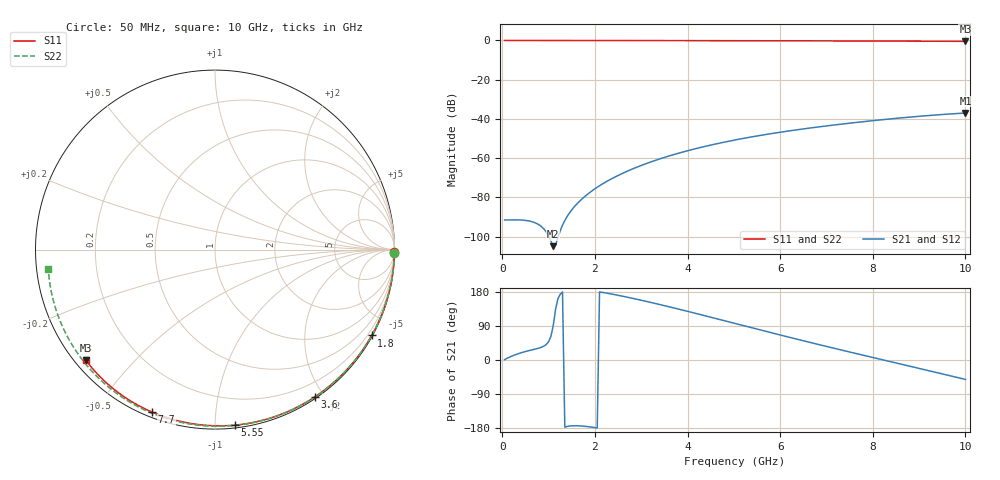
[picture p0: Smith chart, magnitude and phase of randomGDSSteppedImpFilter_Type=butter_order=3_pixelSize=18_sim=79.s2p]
! freq	dB(S11)	phase(S11)	dB(S12)	phase(S12)
!  dB(S21)	phase(S21)	dB(S22)	phase(S22)
!S-par simulation data
#  GHz  S  DB  R 50
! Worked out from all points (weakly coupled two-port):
!   200 points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, 50 MHz to 10 GHz, reference 50 ohm
!   highest |S21| = -36.98 dB at 10 GHz (marker M1); lowest = -104.8 dB at 1.1 GHz (marker M2)
!   lowest |S11| = -0.5 dB at 10 GHz (marker M3), VSWR 36.83, Z = 1.54 - j18.5 ohm
!   |S11| at or under -10 dB: nowhere
!   |S22| runs from -0.6 to 0.0 dB; largest |S21 - S12| = 0
!   S11 on the Smith chart (normalised r, x): 50 MHz: open; 1.8 GHz: 0.03, -3.91; 3.6 GHz: 0.02, -1.88; 5.55 GHz: 0.02, -1.12; 7.7 GHz: 0.02, -0.68; 10 GHz: 0.03, -0.37
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0.05  -0.00 -0.8  -91.47 0.7  -91.47 0.7  -0.00 -1.0
0.55  -0.01 -8.9  -91.84 24.0  -91.84 24.0  -0.01 -10.7
1.1  -0.02 -17.7  -104.82 90.8  -104.82 90.8  -0.03 -21.3
1.75  -0.04 -27.9  -80.14 -174.6  -80.14 -174.6  -0.04 -33.6
1.8  -0.04 -28.7  -79.13 -175.2  -79.13 -175.2  -0.04 -34.5
1.95  -0.04 -31.0  -76.40 -177.5  -76.40 -177.5  -0.05 -37.3
2.1  -0.04 -33.3  -74.02 179.7  -74.02 179.7  -0.05 -40.1
2.45  -0.05 -38.7  -69.38 172.0  -69.38 172.0  -0.06 -46.6
2.9  -0.06 -45.6  -64.61 160.4  -64.61 160.4  -0.07 -54.8
3.4  -0.07 -53.0  -60.35 146.4  -60.35 146.4  -0.08 -63.7
3.6  -0.08 -56.0  -58.87 140.5  -58.87 140.5  -0.09 -67.3
4.3  -0.09 -66.1  -54.41 119.2  -54.41 119.2  -0.11 -79.4
5.05  -0.12 -76.6  -50.59 95.7  -50.59 95.7  -0.14 -92.0
5.55  -0.14 -83.4  -48.46 80.0  -48.46 80.0  -0.17 -100.3
6.1  -0.17 -90.8  -46.41 62.9  -46.41 62.9  -0.20 -109.2
6.7  -0.20 -98.6  -44.44 44.7  -44.44 44.7  -0.23 -118.8
7.2  -0.23 -105.0  -42.97 29.9  -42.97 29.9  -0.27 -126.8
7.7  -0.26 -111.3  -41.62 15.3  -41.62 15.3  -0.31 -134.8
8.35  -0.31 -119.3  -40.04 -3.4  -40.04 -3.4  -0.38 -145.3
9.2  -0.38 -129.7  -38.26 -27.9  -38.26 -27.9  -0.47 -159.5
9.6  -0.42 -134.6  -37.56 -39.5  -37.56 -39.5  -0.53 -166.3
10  -0.47 -139.4  -36.98 -51.2  -36.98 -51.2  -0.58 -173.4
